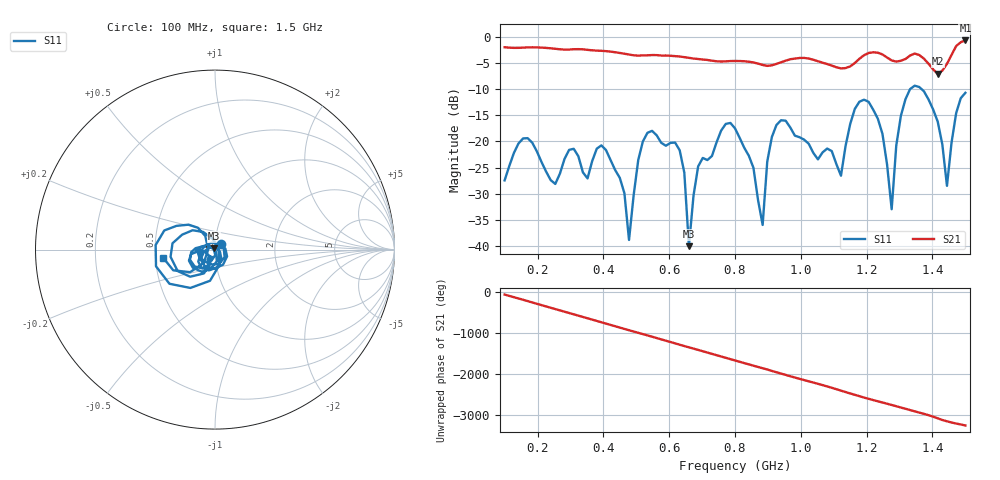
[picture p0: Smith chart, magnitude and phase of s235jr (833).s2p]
! NanoVNA-App
! Date: 2025-09-25 15:10:39
! Start: 100MHz Stop: 1,5GHz Points: 101
! S-Parameter data: F S11 S21 S12 S22
# Hz S RI R 50
!  Frequency  S11_Real  S11_Imag  S21_Real  S21_Imag  S12_Real  S12_Imag  S22_Real  S22_Imag
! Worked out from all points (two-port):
!   101 points, 100 MHz to 1.5 GHz, reference 50 ohm
!   highest |S21| = -0.67 dB at 1.5 GHz (marker M1); lowest = -7.1 dB at 1.416 GHz (marker M2)
!   |S21| within 3 dB of the highest: start of sweep to 617.8 MHz; 1.189 GHz to 1.256 GHz (67.21 MHz wide, 5.5 % of centre) (the widest 2 of 4)
!   lowest |S11| = -40.1 dB at 660 MHz (marker M3), VSWR 1.02, Z = 49.2 + j0.627 ohm
!   |S11| at or under -10 dB: start of sweep to 1.332 GHz; 1.367 GHz to end of sweep
!   S12 and S22 are empty: the file has one direction only
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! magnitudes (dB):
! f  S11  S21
! 100 MHz  -27.5  -2.0
! 156 MHz  -19.4  -2.0
! 338 MHz  -25.9  -2.4
! 408 MHz  -21.7  -2.7
! 478 MHz  -38.9  -3.4
! 520 MHz  -20.0  -3.5
! 576 MHz  -20.3  -3.6
! 632 MHz  -21.7  -3.7
! 660 MHz  -40.1  -4.0
! 688 MHz  -24.8  -4.2
! 800 MHz  -17.5  -4.6
! 884 MHz  -36.0  -5.4
! 926 MHz  -16.8  -5.2
! 1.038 GHz  -22.2  -4.4
! 1.122 GHz  -26.6  -6.0
! 1.206 GHz  -12.4  -3.1
! 1.276 GHz  -33.0  -4.5
! 1.29 GHz  -20.8  -4.7
! 1.332 GHz  -10.0  -3.6
! 1.416 GHz  -16.2  -7.1
! 1.444 GHz  -28.5  -5.2
! 1.5 GHz  -10.7  -0.7
